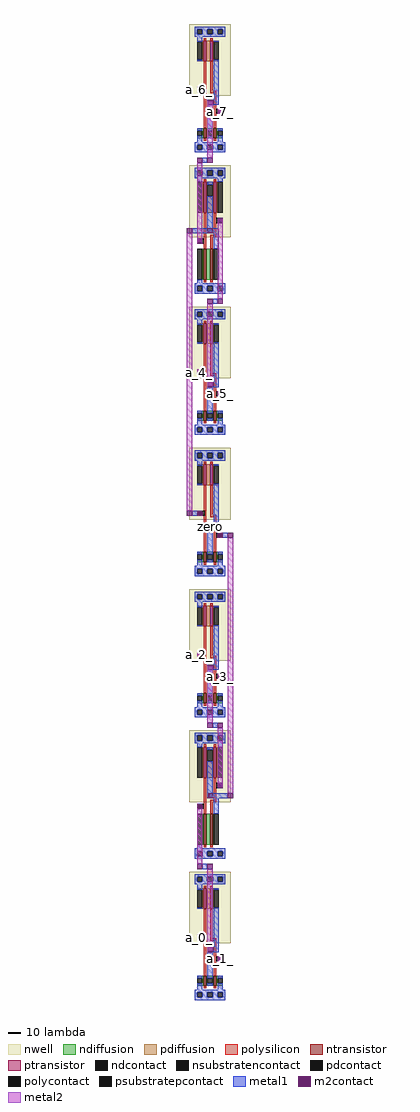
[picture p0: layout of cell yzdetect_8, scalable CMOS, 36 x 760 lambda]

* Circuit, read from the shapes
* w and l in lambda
.subckt yzdetect_8 Gnd! Vdd! a_0_ a_1_ a_2_ a_3_ a_4_ a_5_ a_6_ a_7_ zero
M1 nand2_1x_1/A a_0_ Gnd! Gnd! nfet w=8 l=2
M2 n1 nand2_1x_1/A Gnd! Gnd! nfet w=24 l=2
M3 nand2_1x_1/b a_2_ Gnd! Gnd! nfet w=8 l=2
M4 zero nand2_1x_0/Y Gnd! Gnd! nfet w=8 l=2
M5 nand2_1x_0/b a_4_ Gnd! Gnd! nfet w=8 l=2
M6 n2 nand2_1x_0/A Gnd! Gnd! nfet w=24 l=2
M7 nand2_1x_0/A a_6_ Gnd! Gnd! nfet w=8 l=2
M8 nand2_1x_1/Y nand2_1x_1/b n1 Gnd! nfet w=24 l=2
M9 nand2_1x_0/Y nand2_1x_0/b n2 Gnd! nfet w=24 l=2
M10 Gnd! a_1_ nand2_1x_1/A Gnd! nfet w=8 l=2
M11 Gnd! a_3_ nand2_1x_1/b Gnd! nfet w=8 l=2
M12 Gnd! nand2_1x_1/Y zero Gnd! nfet w=8 l=2
M13 Gnd! a_5_ nand2_1x_0/b Gnd! nfet w=8 l=2
M14 Gnd! a_7_ nand2_1x_0/A Gnd! nfet w=8 l=2
M15 n3 a_0_ Vdd! Vdd! pfet w=16 l=2
M16 nand2_1x_1/Y nand2_1x_1/A Vdd! Vdd! pfet w=24 l=2
M17 n4 a_2_ Vdd! Vdd! pfet w=16 l=2
M18 n5 nand2_1x_0/Y Vdd! Vdd! pfet w=16 l=2
M19 n6 a_4_ Vdd! Vdd! pfet w=16 l=2
M20 nand2_1x_0/Y nand2_1x_0/A Vdd! Vdd! pfet w=24 l=2
M21 n7 a_6_ Vdd! Vdd! pfet w=16 l=2
M22 nand2_1x_1/A a_1_ n3 Vdd! pfet w=16 l=2
M23 nand2_1x_1/b a_3_ n4 Vdd! pfet w=16 l=2
M24 zero nand2_1x_1/Y n5 Vdd! pfet w=16 l=2
M25 nand2_1x_0/b a_5_ n6 Vdd! pfet w=16 l=2
M26 nand2_1x_0/A a_7_ n7 Vdd! pfet w=16 l=2
M27 Vdd! nand2_1x_1/b nand2_1x_1/Y Vdd! pfet w=24 l=2
M28 Vdd! nand2_1x_0/b nand2_1x_0/Y Vdd! pfet w=24 l=2
.ends

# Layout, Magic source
magic
tech scmos
<< metal1 >>
rect 4 648 8 652
rect -4 593 13 597
rect 12 538 16 542
rect -4 373 3 377
rect 17 356 24 360
rect 12 208 16 212
rect 9 153 24 157
rect 4 98 8 102
<< m2contact >>
rect 0 648 4 652
rect 8 648 12 652
rect -8 593 -4 597
rect 8 538 12 542
rect 16 538 20 542
rect -8 373 -4 377
rect 24 356 28 360
rect 8 208 12 212
rect 16 208 20 212
rect 24 153 28 157
rect 0 98 4 102
rect 8 98 12 102
<< metal2 >>
rect 0 703 4 707
rect 8 652 12 696
rect 16 686 20 690
rect -8 377 -4 593
rect 0 586 4 648
rect 16 542 20 604
rect 0 483 4 487
rect 8 474 12 538
rect 16 466 20 470
rect 8 363 12 367
rect 0 263 4 267
rect 8 212 12 256
rect 16 246 20 250
rect 16 162 20 208
rect 24 157 28 356
rect 0 102 4 145
rect 0 43 4 47
rect 8 34 12 98
rect 16 26 20 30
use nor2_1x  nor2_1x_0
transform 1 0 0 0 1 660
box -6 -4 26 96
use nand2_1x  nand2_1x_0
transform 1 0 0 0 1 550
box -6 -4 26 96
use nor2_1x  nor2_1x_1
transform 1 0 0 0 1 440
box -6 -4 26 96
use nor2_1x  nor2_1x_2
transform 1 0 0 0 1 330
box -6 -4 26 96
use nor2_1x  nor2_1x_3
transform 1 0 0 0 1 220
box -6 -4 26 96
use nand2_1x  nand2_1x_1
transform 1 0 0 0 1 110
box -6 -4 26 96
use nor2_1x  nor2_1x_4
transform 1 0 0 0 1 0
box -6 -4 26 96
<< labels >>
rlabel metal2 16 26 20 30 1 a_1_
rlabel metal2 0 43 4 47 1 a_0_
rlabel metal2 0 263 4 267 1 a_2_
rlabel metal2 16 246 20 250 1 a_3_
rlabel metal2 8 363 12 367 1 zero
rlabel metal2 0 483 4 487 1 a_4_
rlabel metal2 16 466 20 470 1 a_5_
rlabel metal2 16 686 20 690 1 a_7_
rlabel metal2 0 703 4 707 1 a_6_
<< end >>

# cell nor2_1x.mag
magic
tech scmos
<< nwell >>
rect -6 40 26 96
<< ntransistor >>
rect 5 7 7 15
rect 13 7 15 15
<< ptransistor >>
rect 5 67 7 83
rect 10 67 12 83
<< ndiffusion >>
rect 0 13 5 15
rect 4 9 5 13
rect 0 7 5 9
rect 7 13 13 15
rect 7 9 8 13
rect 12 9 13 13
rect 7 7 13 9
rect 15 13 20 15
rect 15 9 16 13
rect 15 7 20 9
<< pdiffusion >>
rect 0 82 5 83
rect 4 68 5 82
rect 0 67 5 68
rect 7 67 10 83
rect 12 82 17 83
rect 12 68 13 82
rect 12 67 17 68
<< ndcontact >>
rect 0 9 4 13
rect 8 9 12 13
rect 16 9 20 13
<< pdcontact >>
rect 0 68 4 82
rect 13 68 17 82
<< psubstratepcontact >>
rect 0 -2 4 2
rect 8 -2 12 2
rect 16 -2 20 2
<< nsubstratencontact >>
rect 0 88 4 92
rect 8 88 12 92
rect 16 88 20 92
<< polysilicon >>
rect 5 83 7 85
rect 10 83 12 85
rect 5 47 7 67
rect 1 43 2 47
rect 6 43 7 47
rect 5 15 7 43
rect 10 44 12 67
rect 10 42 15 44
rect 13 15 15 42
rect 5 5 7 7
rect 13 5 15 7
<< polycontact >>
rect 2 43 6 47
rect 15 26 19 30
<< metal1 >>
rect -2 92 22 94
rect -2 88 0 92
rect 4 88 8 92
rect 12 88 16 92
rect 20 88 22 92
rect -2 86 22 88
rect 0 82 4 86
rect 0 67 4 68
rect 13 82 17 83
rect 13 37 17 68
rect 12 33 17 37
rect 0 13 4 15
rect 0 4 4 9
rect 8 13 12 33
rect 8 7 12 9
rect 16 13 20 15
rect 16 4 20 9
rect -2 2 22 4
rect -2 -2 0 2
rect 4 -2 8 2
rect 12 -2 16 2
rect 20 -2 22 2
rect -2 -4 22 -2
<< m2contact >>
rect 0 43 2 47
rect 2 43 4 47
rect 8 33 12 37
rect 16 26 19 30
rect 19 26 20 30
<< labels >>
rlabel m2contact 2 45 2 45 1 a
rlabel m2contact 10 35 10 35 1 y
rlabel m2contact 18 28 18 28 1 b
rlabel metal1 -1 90 -1 90 3 Vdd!
rlabel metal1 -1 0 -1 0 3 Gnd!
<< end >>

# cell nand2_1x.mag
magic
tech scmos
<< nwell >>
rect -6 40 26 96
<< ntransistor >>
rect 5 7 7 31
rect 10 7 12 31
<< ptransistor >>
rect 5 59 7 83
rect 13 59 15 83
<< ndiffusion >>
rect 4 7 5 31
rect 7 7 10 31
rect 12 7 13 31
<< pdiffusion >>
rect 4 59 5 83
rect 7 81 13 83
rect 7 72 8 81
rect 12 72 13 81
rect 7 59 13 72
rect 15 59 16 83
<< ndcontact >>
rect 0 7 4 31
rect 13 7 17 31
<< pdcontact >>
rect 0 59 4 83
rect 8 72 12 81
rect 16 59 20 83
<< psubstratepcontact >>
rect 0 -2 4 2
rect 8 -2 12 2
rect 16 -2 20 2
<< nsubstratencontact >>
rect 0 88 4 92
rect 8 88 12 92
rect 16 88 20 92
<< polysilicon >>
rect 5 83 7 85
rect 13 83 15 85
rect 5 31 7 59
rect 13 42 15 59
rect 10 40 15 42
rect 10 31 12 40
rect 5 5 7 7
rect 10 5 12 7
<< polycontact >>
rect 1 35 5 39
rect 15 51 19 55
<< metal1 >>
rect -2 92 22 94
rect -2 88 0 92
rect 4 88 8 92
rect 12 88 16 92
rect 20 88 22 92
rect -2 86 22 88
rect 0 83 4 86
rect 16 83 20 86
rect 8 81 12 83
rect 8 47 12 72
rect 12 43 17 47
rect 13 31 17 43
rect 0 4 4 7
rect -2 2 22 4
rect -2 -2 0 2
rect 4 -2 8 2
rect 12 -2 16 2
rect 20 -2 22 2
rect -2 -4 22 -2
<< m2contact >>
rect 16 51 19 55
rect 19 51 20 55
rect 8 43 12 47
rect 0 35 1 39
rect 1 35 4 39
<< labels >>
rlabel m2contact 1 37 1 37 1 A
rlabel m2contact 10 45 10 45 1 Y
rlabel m2contact 18 53 18 53 1 b
rlabel metal1 -1 90 -1 90 3 Vdd!
rlabel metal1 -1 0 -1 0 3 Gnd!
<< end >>
